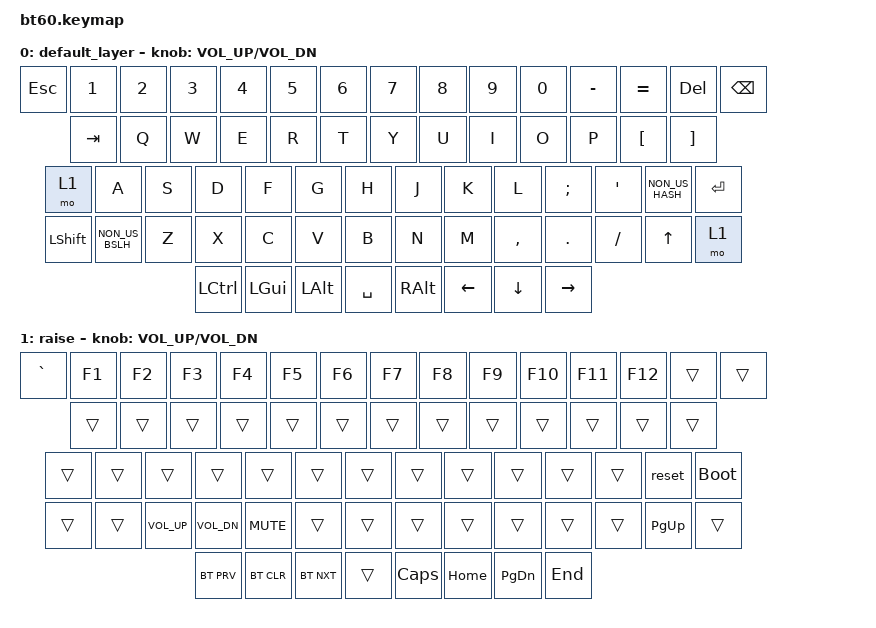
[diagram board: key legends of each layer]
#include <behaviors.dtsi>
#include <dt-bindings/zmk/keys.h>
#include <dt-bindings/zmk/bt.h>

/ {
	keymap {
		compatible = "zmk,keymap";

		default_layer {
				// -----------------------------------------------------------------------------------------------
				// | ESC |  1  |  2  |  3  |  4  |  5  |  6  |  7  |  8  |  9  |  0  |  -  |  =  | DEL |  BKSP   |
				// | TAB  |  Q  |  W  |  E  |  R  |  T  |  Y  |  U  |  I  |  O  |  P  |  [  |  ]  |   			 |
				// | 1  |  A  |  S  |  D  |  F  |  G  |  H  |  J  |  K  |  L  |  ;  |  '  |  # 		|   ENTER    |
				// |  SHIFT  |	|  |  Z  |  X  |  C  |  V  |  B  |  N  |  M  |  ,  |  .  |  /   |   UP  |   1    |
				// |  CTL  |  WIN  |  ALT  |                 SPACE            |  ALT   |  LEFT  |  DOWN  | RIGHT |
				// -----------------------------------------------------------------------------------------------
			bindings = <
				&kp ESC &kp N1 &kp N2 &kp N3 &kp N4 &kp N5 &kp N6 &kp N7 &kp  N8   &kp  N9 &kp  N0  &kp MINUS &kp EQUAL &kp DEL &kp BSPC
				&kp TAB  &kp Q  &kp W  &kp E  &kp R  &kp T  &kp Y  &kp U  &kp  I    &kp  O  &kp  P   &kp LBKT &kp RBKT
				&mo 1  &kp A  &kp S  &kp D  &kp F  &kp G  &kp H  &kp J  &kp  K    &kp  L  &kp SEMI &kp SQT  &kp NON_US_HASH  &kp RET
				&kp LSHFT &kp NON_US_BSLH &kp Z  &kp X  &kp C  &kp V  &kp B  &kp N  &kp M  &kp COMMA &kp DOT &kp FSLH   &kp UP  &mo 1
				&kp LCTRL &kp LGUI &kp LALT         	         &kp SPACE                          &kp RALT  &kp LEFT &kp DOWN &kp RIGHT
			>;
			sensor-bindings = <&inc_dec_kp C_VOL_UP C_VOL_DN>;
		};
		raise {
			bindings = <
				&kp GRAVE &kp F1 &kp F2 &kp F3 &kp F4 &kp F5 &kp F6 &kp F7 &kp  F8   &kp  F9 &kp  F10  &kp F11 &kp F12   &trans &trans
				&trans &trans &trans &trans &trans &trans &trans &trans &trans &trans &trans &trans &trans
				&trans    &trans  &trans  &trans  &trans &trans &trans &trans &trans &trans &trans   &trans  &reset  &bootloader
				&trans &trans &kp C_VOL_UP &kp C_VOL_DN &kp C_MUTE &trans &trans &trans &trans &trans &trans &trans &kp PG_UP  &trans
				&bt BT_PRV   &bt BT_CLR  &bt BT_NXT                      &trans                   &kp CLCK &kp HOME  &kp PG_DN &kp END
			>;
			sensor-bindings = <&inc_dec_kp C_VOL_UP C_VOL_DN>;
		};
	};
};
